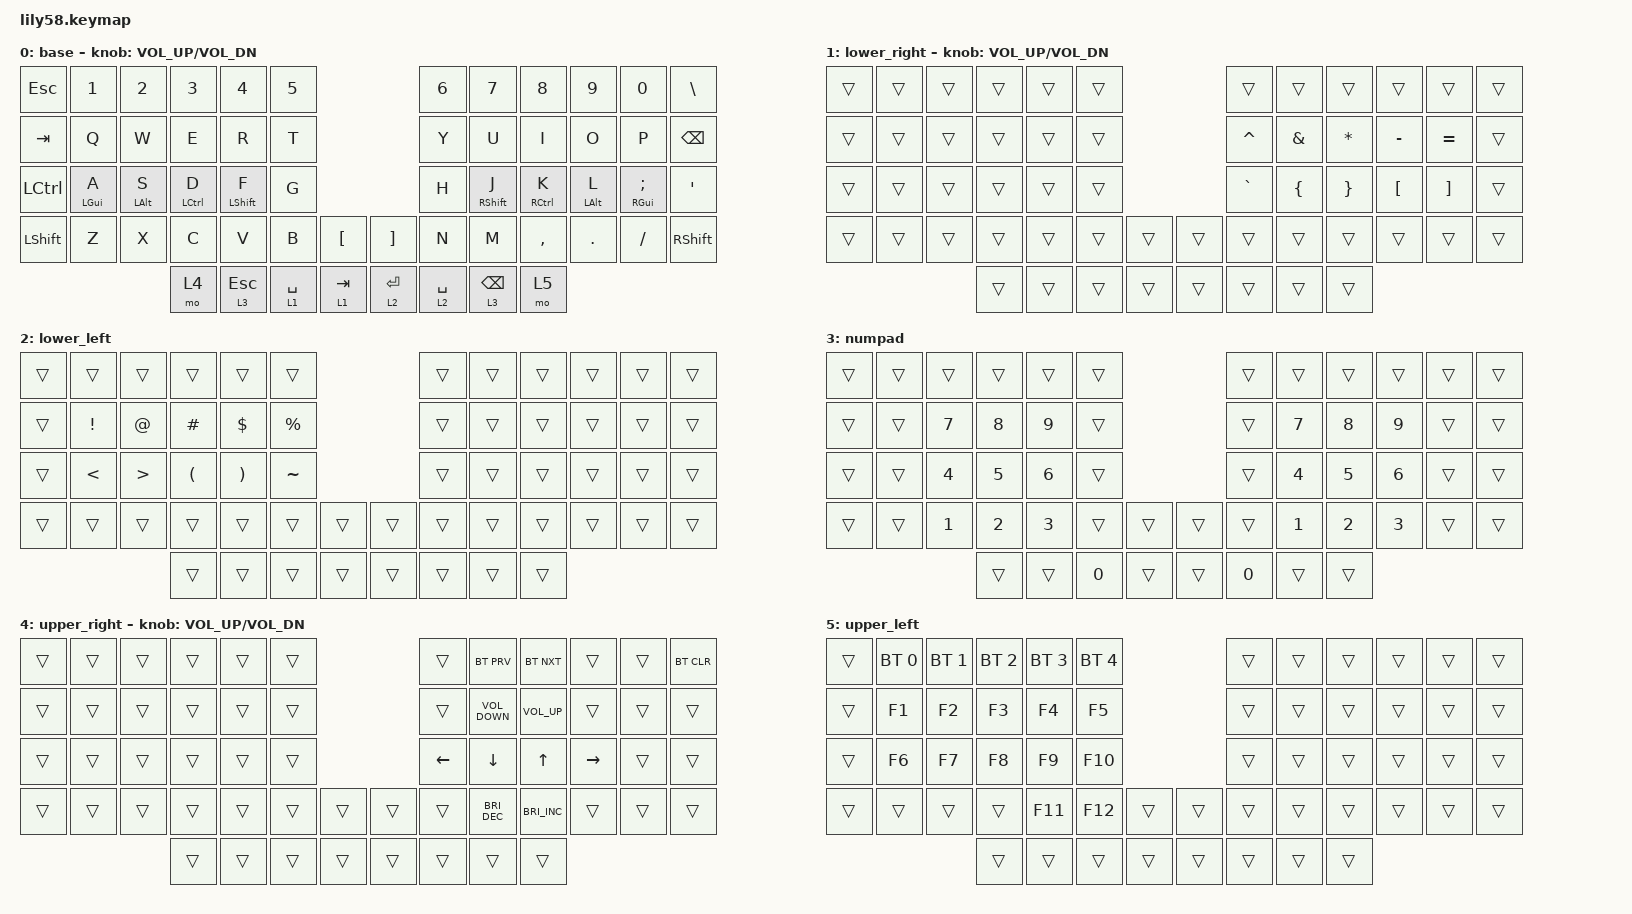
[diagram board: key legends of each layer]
/*
 * Copyright (c) 2020 The ZMK Contributors
 *
 * SPDX-License-Identifier: MIT
 */

#include <behaviors.dtsi>
#include <dt-bindings/zmk/bt.h>
#include <dt-bindings/zmk/keys.h>

/ {
    behaviors {
        hm: homerow_mods {
            compatible = "zmk,behavior-hold-tap";
            label = "HOMEROW_MODS";
            #binding-cells = <2>;
            tapping-term-ms = <220>;
            quick-tap-ms = <0>;
            flavor = "tap-preferred";
            bindings = <&kp>, <&kp>;
        };
    };

    keymap {
        compatible = "zmk,keymap";

        base {
            // ------------------------------------------------------------------------------------------------------------
            // |  ESC  |  1  |  2  |  3   |  4   |  5   |                   |  6   |  7    |  8    |  9   |   0   |   `   |
            // |  TAB  |  Q  |  W  |  E   |  R   |  T   |                   |  Y   |  U    |  I    |  O   |   P   |   -   |
            // |  CTRL |  A  |  S  |  D   |  F   |  G   |                   |  H   |  J    |  K    |  L   |   ;   |   '   |
            // | SHIFT |  Z  |  X  |  C   |  V   |  B   |   "["  |  |  "]"  |  N   |  M    |  ,    |  .   |   /   | SHIFT |
            //                     | ALT  | GUI  | LOWER|  SPACE |  | ENTER | RAISE| BSPC  | GUI   |

            bindings = <
&kp ESC    &kp N1      &kp N2      &kp N3       &kp N4        &kp N5                                 &kp N6       &kp N7           &kp N8       &kp N9      &kp N0              &kp BSLH
&kp TAB    &kp Q       &kp W       &kp E        &kp R         &kp T                                  &kp Y        &kp U            &kp I        &kp O       &kp P               &kp BACKSPACE
&kp LCTRL  &hm LGUI A  &hm LALT S  &hm LCTRL D  &hm LSHIFT F  &kp G                                  &kp H        &hm RSHIFT J     &hm RCTRL K  &hm LALT L  &hm RGUI SEMICOLON  &kp APOS
&kp LSHFT  &kp Z       &kp X       &kp C        &kp V         &kp B        &kp LBKT     &kp RBKT     &kp N        &kp M            &kp COMMA    &kp DOT     &kp FSLH            &kp RSHIFT
                                   &mo 4        &lt 3 ESC     &lt 1 SPACE  &lt 1 TAB    &lt 2 ENTER  &lt 2 SPACE  &lt 3 BACKSPACE  &mo 5
            >;

            sensor-bindings = <&inc_dec_kp C_VOL_UP C_VOL_DN>;
        };

        lower_right {
            // ------------------------------------------------------------------------------------------------------------
            // | BTCLR | BT1 | BT2 |  BT3 |  BT4 |  BT5 |                   |      |       |       |      |       |       |
            // |  F1   |  F2 |  F3 |  F4  |  F5  |  F6  |                   |  F7  |  F8   |  F9   |  F10 |  F11  |  F12  |
            // |   `   |  !  |  @  |  #   |  $   |  %   |                   |  ^   |  &    |  *    |  (   |   )   |   ~   |
            // |       |     |     |      |      |      |        |  |       |      |  _    |  +    |  {   |   }   |  "|"  |
            //                     |      |      |      |        |  |       |      |       |       |

            bindings = <
&trans  &trans  &trans  &trans  &trans  &trans                    &trans     &trans          &trans           &trans            &trans             &trans
&trans  &trans  &trans  &trans  &trans  &trans                    &kp CARET  &kp AMPS        &kp ASTRK        &kp MINUS         &kp EQUAL          &trans
&trans  &trans  &trans  &trans  &trans  &trans                    &kp GRAVE  &kp LEFT_BRACE  &kp RIGHT_BRACE  &kp LEFT_BRACKET  &kp RIGHT_BRACKET  &trans
&trans  &trans  &trans  &trans  &trans  &trans  &trans    &trans  &trans     &trans          &trans           &trans            &trans             &trans
                        &trans  &trans  &trans  &trans    &trans  &trans     &trans          &trans
            >;

            sensor-bindings = <&inc_dec_kp C_VOL_UP C_VOL_DN>;
        };

        lower_left {
            bindings = <
&trans  &trans    &trans  &trans                &trans                 &trans                         &trans  &trans  &trans  &trans  &trans  &trans
&trans  &kp EXCL  &kp AT  &kp HASH              &kp DOLLAR             &kp PERCENT                    &trans  &trans  &trans  &trans  &trans  &trans
&trans  &kp LT    &kp GT  &kp LEFT_PARENTHESIS  &kp RIGHT_PARENTHESIS  &kp TILDE                      &trans  &trans  &trans  &trans  &trans  &trans
&trans  &trans    &trans  &trans                &trans                 &trans       &trans    &trans  &trans  &trans  &trans  &trans  &trans  &trans
                          &trans                &trans                 &trans       &trans    &trans  &trans  &trans  &trans
            >;
        };

        numpad {
            bindings = <
&trans  &trans  &trans  &trans  &trans  &trans                          &trans        &trans        &trans  &trans  &trans  &trans
&trans  &trans  &kp N7  &kp N8  &kp N9  &trans                          &trans        &kp N7        &kp N8  &kp N9  &trans  &trans
&trans  &trans  &kp N4  &kp N5  &kp N6  &trans                          &trans        &kp N4        &kp N5  &kp N6  &trans  &trans
&trans  &trans  &kp N1  &kp N2  &kp N3  &trans        &trans    &trans  &trans        &kp NUMBER_1  &kp N2  &kp N3  &trans  &trans
                        &trans  &trans  &kp NUMBER_0  &trans    &trans  &kp NUMBER_0  &trans        &trans
            >;
        };

        upper_right {
            // ------------------------------------------------------------------------------------------------------------
            // |       |     |     |      |      |      |                   |      |       |       |      |       |       |
            // |   `   |  1  |  2  |  3   |  4   |  5   |                   |  6   |   7   |   8   |  9   |   0   |       |
            // |   F1  |  F2 |  F3 |  F4  |  F5  |  F6  |                   |      |   <-  |   v   |  ^   |  ->   |       |
            // |   F7  |  F8 |  F9 |  F10 |  F11 |  F12 |        |  |       |  +   |   -   |   =   |  [   |   ]   |   \   |
            //                     |      |      |      |        |  |       |      |       |       |

            bindings = <
&trans  &trans  &trans  &trans  &trans  &trans                    &trans    &bt BT_PRV            &bt BT_NXT            &trans     &trans  &bt BT_CLR
&trans  &trans  &trans  &trans  &trans  &trans                    &trans    &kp C_VOLUME_DOWN     &kp C_VOLUME_UP       &trans     &trans  &trans
&trans  &trans  &trans  &trans  &trans  &trans                    &kp LEFT  &kp DOWN              &kp UP                &kp RIGHT  &trans  &trans
&trans  &trans  &trans  &trans  &trans  &trans  &trans    &trans  &trans    &kp C_BRIGHTNESS_DEC  &kp C_BRIGHTNESS_INC  &trans     &trans  &trans
                        &trans  &trans  &trans  &trans    &trans  &trans    &trans                &trans
            >;

            sensor-bindings = <&inc_dec_kp C_VOL_UP C_VOL_DN>;
        };

        upper_left {
            bindings = <
&trans  &bt BT_SEL 0  &bt BT_SEL 1  &bt BT_SEL 2  &bt BT_SEL 3  &bt BT_SEL 4                    &trans  &trans  &trans  &trans  &trans  &trans
&trans  &kp F1        &kp F2        &kp F3        &kp F4        &kp F5                          &trans  &trans  &trans  &trans  &trans  &trans
&trans  &kp F6        &kp F7        &kp F8        &kp F9        &kp F10                         &trans  &trans  &trans  &trans  &trans  &trans
&trans  &trans        &trans        &trans        &kp F11       &kp F12       &trans    &trans  &trans  &trans  &trans  &trans  &trans  &trans
                                    &trans        &trans        &trans        &trans    &trans  &trans  &trans  &trans
            >;
        };
    };
};
